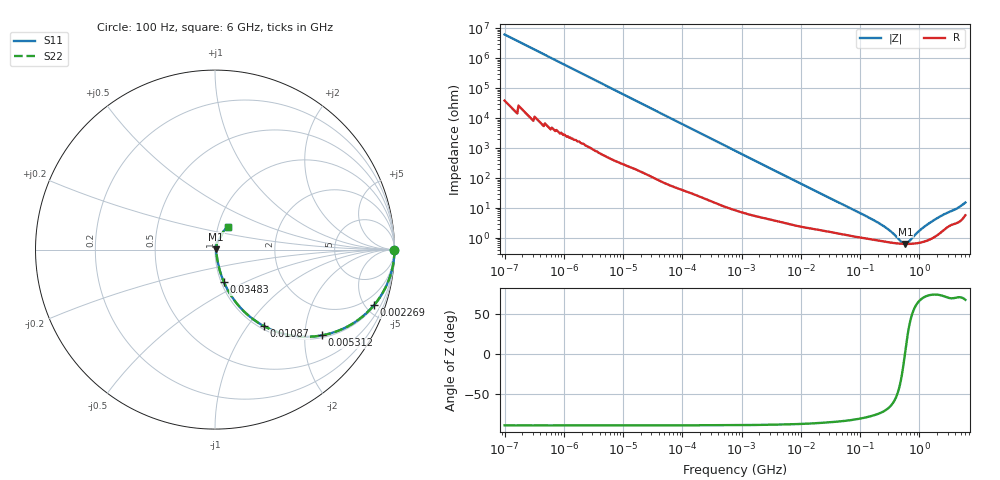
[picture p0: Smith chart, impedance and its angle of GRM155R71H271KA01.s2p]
!Murata Part Number: GRM155R71H271KA01
!These Parameters are Measured in Series Mode Connection
!Data Generated on Mar 30, 2021
!  o--ll--o
!Port1  Port2
!  o------o
!Operation Temp=25[degC], DC Bias Voltage=0[V]
!Freq. Start=100[Hz] Stop=6[GHz] 401[Steps]
# Hz S RI R 50
!Freq.(Hz) S11(Real) S11(Imag) S21(Real) S21(Imag) S12(Real) S12(Imag) S22(Real) S22(Imag)
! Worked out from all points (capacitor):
!   401 points, 100 Hz to 6 GHz, reference 50 ohm
!   read as one part in series: C = 256 pF near 109 Hz
!   lowest |Z| = 641 mohm at 584.8 MHz (marker M1)
!   series resonance near 572.2 MHz, so ESL is about 300 pH
!   S11 on the Smith chart (normalised r, x): 100 Hz: open; 2.269 MHz: 1.09, -5.67; 5.312 MHz: 1.06, -2.44; 10.87 MHz: 1.05, -1.20; 34.83 MHz: 1.03, -0.38; 6 GHz: 1.12, +0.28
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100  1 -1.61e-05  1e-07 1.61e-05  1e-07 1.61e-05  1 -1.61e-05
600  1 -9.61e-05  4e-07 9.61e-05  4e-07 9.61e-05  1 -9.61e-05
2008  1 -0.000321  1.6e-06 0.000321  1.6e-06 0.000321  1 -0.000321
40335  0.9999 -0.00639  7.49e-05 0.00639  7.49e-05 0.00639  0.9999 -0.00639
241822  0.9983 -0.038  0.00174 0.038  0.00174 0.038  0.9983 -0.038
774597  0.9843 -0.1192  0.0157 0.1192  0.0157 0.1192  0.9843 -0.1192
2268635  0.8852 -0.3105  0.1148 0.3105  0.1148 0.3105  0.8852 -0.3105
3394479  0.7784 -0.405  0.2216 0.405  0.2216 0.405  0.7784 -0.405
5311619  0.5959 -0.4778  0.4041 0.4778  0.4041 0.4778  0.5959 -0.4778
7599586  0.4256 -0.479  0.5744 0.479  0.5744 0.479  0.4256 -0.479
1.087309e7  0.2735 -0.4268  0.7265 0.4268  0.7265 0.4268  0.2735 -0.4268
1.555665e7  0.1634 -0.3463  0.8366 0.3463  0.8366 0.3463  0.1634 -0.3463
3.482834e7  0.0491 -0.1799  0.9509 0.1799  0.9509 0.1799  0.0491 -0.1799
1.596157e8  0.0106 -0.0406  0.9894 0.0406  0.9894 0.0406  0.0106 -0.0406
3.124326e8  0.0074 -0.0166  0.9926 0.0166  0.9926 0.0166  0.0074 -0.0166
5.112761e8  0.00641 -0.00299  0.9936 0.00299  0.9936 0.00299  0.00641 -0.00299
5.847788e8  0.00635 0.000583  0.9937 -0.000583  0.9937 -0.000583  0.00635 0.000583
6.688484e8  0.00637 0.00419  0.9936 -0.00419  0.9936 -0.00419  0.00637 0.00419
1.046602e9  0.00733 0.0173  0.9927 -0.0173  0.9927 -0.0173  0.00733 0.0173
1.497423e9  0.00976 0.0303  0.9902 -0.0303  0.9902 -0.0303  0.00976 0.0303
2.34314e9  0.0181 0.0512  0.9819 -0.0512  0.9819 -0.0512  0.0181 0.0512
6e9  0.0712 0.1248  0.9288 -0.1248  0.9288 -0.1248  0.0712 0.1248
